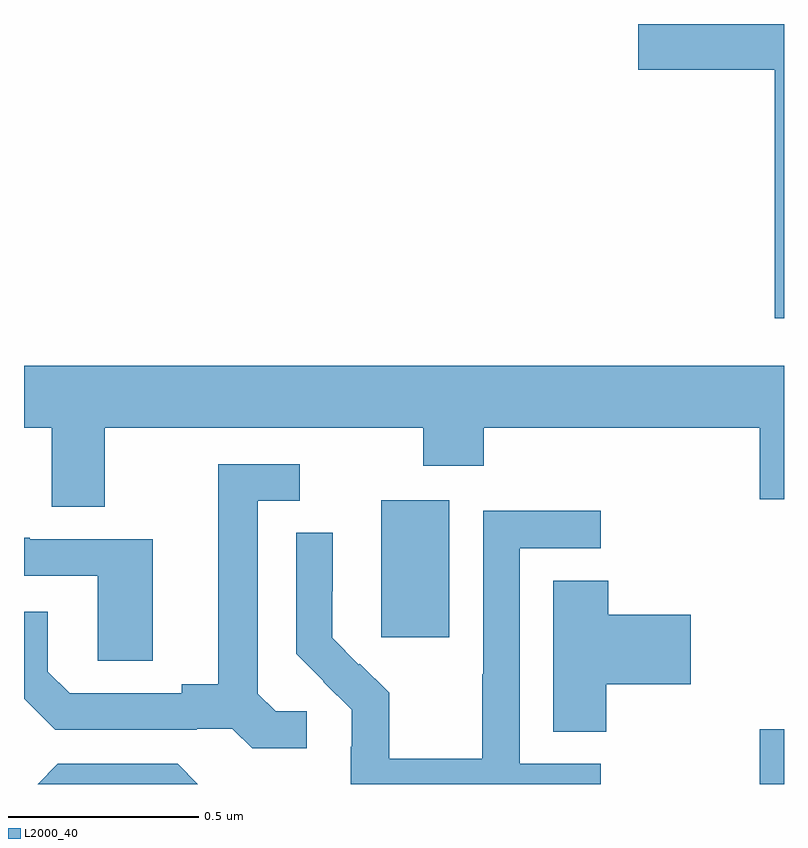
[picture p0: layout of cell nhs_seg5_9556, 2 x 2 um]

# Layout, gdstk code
import gdstk
lib = gdstk.Library(unit=1e-6, precision=1e-09)
def R(c, l, rs):  # rectangles x0, y0, x1, y1
    for r in rs: c.add(gdstk.rectangle(r[:2], r[2:], *l))
def P(c, l, *ps):  # polygons
    for p in ps: c.add(gdstk.Polygon(p, *l))
L2000_40 = (2000, 40)

nhs_seg5_9556 = lib.new_cell('nhs_seg5_9556')
R(nhs_seg5_9556, L2000_40, [(236.936,879.799,237,879.943), (235.94,880.185,236.119,880.546)])
P(nhs_seg5_9556, L2000_40, [(237,881.799),(236.616,881.799),(236.616,881.678),(236.976,881.678),(236.976,881.025),(237,881.025)],
  [(235.213,880.736),(236.05,880.736),(236.05,880.637),(236.21,880.637),(236.21,880.736),(236.936,880.736),(236.936,880.548),(237,880.548),(237,880.9),(235,880.9),(235,880.736),(235.073,880.736),(235.073,880.528),(235.213,880.528)],
  [(235.744,879.99),(235.662,879.99),(235.615,880.037),(235.615,880.545),(235.726,880.545),(235.726,880.641),(235.511,880.641),(235.511,880.061),(235.415,880.061),(235.415,880.038),(235.12,880.038),(235.063,880.095),(235.063,880.252),(235,880.252),(235,880.024),(235.082,879.942),(235.454,879.942),(235.454,879.945),(235.548,879.945),(235.6,879.893),(235.744,879.893)],
  [(236.518,879.852),(236.304,879.852),(236.304,880.419),(236.518,880.419),(236.518,880.518),(236.208,880.518),(236.208,880.088),(236.206,880.088),(236.206,879.865),(235.961,879.865),(235.961,880.039),(235.884,880.116),(235.881,880.113),(235.811,880.184),(235.811,880.306),(235.812,880.306),(235.812,880.46),(235.716,880.46),(235.716,880.142),(235.789,880.069),(235.788,880.068),(235.862,879.994),(235.862,879.897),(235.86,879.897),(235.86,879.799),(236.518,879.799)],
  [(235.339,880.443),(235.015,880.443),(235.015,880.447),(235,880.447),(235,880.347),(235.194,880.347),(235.194,880.123),(235.339,880.123)],
  [(236.532,880.061),(236.755,880.061),(236.755,880.244),(236.537,880.244),(236.537,880.334),(236.393,880.334),(236.393,879.937),(236.532,879.937)],
  [(235.404,879.852),(235.089,879.852),(235.036,879.799),(235.457,879.799)])

lib.write_gds('nhs_seg5_9556.gds')
